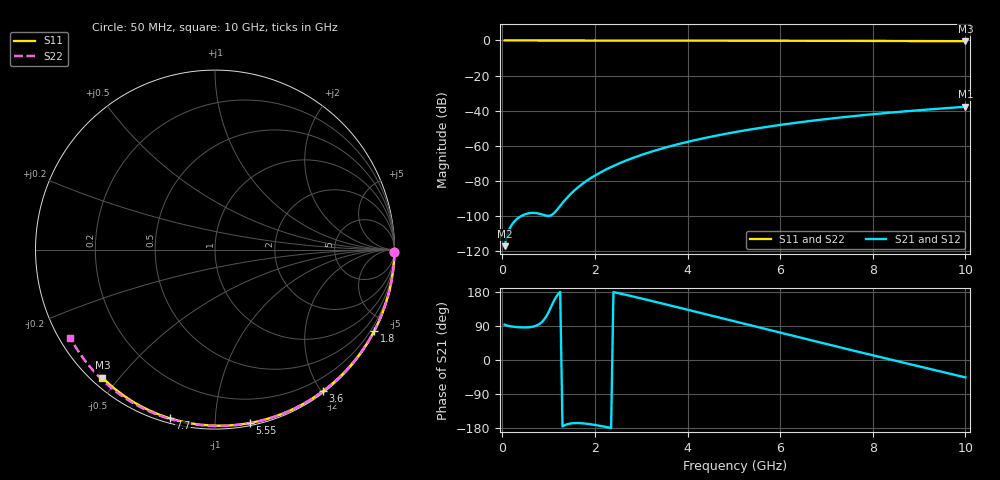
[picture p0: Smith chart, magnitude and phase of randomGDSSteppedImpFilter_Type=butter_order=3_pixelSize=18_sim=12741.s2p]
! freq	dB(S11)	phase(S11)	dB(S12)	phase(S12)
!  dB(S21)	phase(S21)	dB(S22)	phase(S22)
!S-par simulation data
#  GHz  S  DB  R 50
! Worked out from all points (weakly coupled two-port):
!   200 points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, 50 MHz to 10 GHz, reference 50 ohm
!   highest |S21| = -37.80 dB at 10 GHz (marker M1); lowest = -117.2 dB at 50 MHz (marker M2)
!   lowest |S11| = -0.4 dB at 10 GHz (marker M3), VSWR 38.86, Z = 1.55 - j22.6 ohm
!   |S11| at or under -10 dB: nowhere
!   |S22| runs from -0.5 to 0.0 dB; largest |S21 - S12| = 0
!   S11 on the Smith chart (normalised r, x): 50 MHz: open; 1.8 GHz: 0.04, -4.18; 3.6 GHz: 0.02, -2.02; 5.55 GHz: 0.02, -1.22; 7.7 GHz: 0.02, -0.77; 10 GHz: 0.03, -0.45
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0.05  -0.00 -0.8  -117.25 93.3  -117.25 93.3  -0.00 -0.9
0.45  -0.01 -6.8  -99.50 85.8  -99.50 85.8  -0.01 -7.8
0.9  -0.02 -13.6  -99.52 106.2  -99.52 106.2  -0.02 -15.4
1.3  -0.02 -19.5  -92.65 -175.3  -92.65 -175.3  -0.03 -22.2
1.75  -0.03 -26.2  -81.35 -167.3  -81.35 -167.3  -0.04 -29.7
1.8  -0.03 -26.9  -80.40 -167.9  -80.40 -167.9  -0.04 -30.6
1.85  -0.04 -27.6  -79.50 -168.6  -79.50 -168.6  -0.04 -31.4
2.05  -0.04 -30.6  -76.23 -172.4  -76.23 -172.4  -0.04 -34.7
2.2  -0.04 -32.7  -74.10 -175.7  -74.10 -175.7  -0.05 -37.2
2.55  -0.05 -37.8  -69.79 175.2  -69.79 175.2  -0.06 -42.9
2.95  -0.06 -43.5  -65.74 164.0  -65.74 164.0  -0.06 -49.3
3.4  -0.07 -49.8  -61.96 150.7  -61.96 150.7  -0.08 -56.5
3.6  -0.07 -52.6  -60.47 144.7  -60.47 144.7  -0.08 -59.6
4.3  -0.09 -62.2  -56.00 123.5  -56.00 123.5  -0.10 -70.3
5.05  -0.11 -72.1  -52.12 100.7  -52.12 100.7  -0.13 -81.5
5.55  -0.13 -78.6  -49.92 85.6  -49.92 85.6  -0.15 -88.7
6.1  -0.15 -85.6  -47.78 69.0  -47.78 69.0  -0.17 -96.5
6.7  -0.18 -93.0  -45.73 50.9  -45.73 50.9  -0.20 -104.8
7.7  -0.24 -105.0  -42.81 21.2  -42.81 21.2  -0.27 -118.3
8.35  -0.29 -112.6  -41.20 2.2  -41.20 2.2  -0.33 -127.0
9.2  -0.36 -122.3  -39.34 -22.6  -39.34 -22.6  -0.41 -138.2
10  -0.45 -131.3  -37.80 -45.9  -37.80 -45.9  -0.50 -148.7
